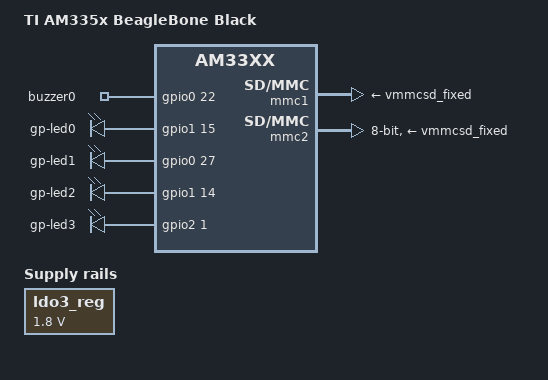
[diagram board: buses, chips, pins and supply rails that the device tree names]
/*
 * Copyright (C) 2012 Texas Instruments Incorporated - http://www.ti.com/
 *
 * This program is free software; you can redistribute it and/or modify
 * it under the terms of the GNU General Public License version 2 as
 * published by the Free Software Foundation.
 */
/dts-v1/;

#include "am33xx.dtsi"
#include "am335x-bone-common.dtsi"
/* #include "am335x-bone-jtag.dtsi" */

/ {
	model = "TI AM335x BeagleBone Black";
	compatible = "ti,am335x-bone-black", "ti,am335x-bone", "ti,am33xx";
};

&ldo3_reg {
	regulator-min-microvolt = <1800000>;
	regulator-max-microvolt = <1800000>;
	regulator-always-on;
};

&mmc1 {
	vmmc-supply = <&vmmcsd_fixed>;
};

&mmc2 {
	vmmc-supply = <&vmmcsd_fixed>;
	pinctrl-names = "default";
	pinctrl-0 = <&emmc_pins>;
	bus-width = <8>;
	status = "okay";
};

&cpu0_opp_table {
	/*
	 * All PG 2.0 silicon may not support 1GHz but some of the early
	 * BeagleBone Blacks have PG 2.0 silicon which is guaranteed
	 * to support 1GHz OPP so enable it for PG 2.0 on this board.
	 */
	oppnitro@1000000000 {
		opp-supported-hw = <0x06 0x0100>;
	};
};


/* Include serial port configuration */
#include "am335x-bone-pinmux-ttyS1.dtsi"
#include "am335x-bone-pinmux-ttyS2.dtsi"
#include "am335x-bone-pinmux-ttyS4.dtsi"
#include "am335x-bone-pinmux-ttyS5.dtsi"

/* Include lcd configuration */
#include "am335x-peripheral-lcd0.dtsi"

/* Include SPI1 configuration */
#include "am335x-bone-pinmux-spi1.dtsi"


/* Configuration of leds and buzzer */
&am33xx_pinmux {
	buzzer_pins: pinmux_buzzer_pins {
		pinctrl-single,pins = <
		BONE_P8_19 (PIN_OUTPUT | MUX_MODE7)
		>;
	};

	gpleds_pins: pinmux_gpleds_pins {
		pinctrl-single,pins = <
		BONE_P8_15 (PIN_OUTPUT | MUX_MODE7)
		BONE_P8_16 (PIN_OUTPUT | MUX_MODE7)
		BONE_P8_17 (PIN_OUTPUT | MUX_MODE7)
		BONE_P8_18 (PIN_OUTPUT | MUX_MODE7)
		>;
	};
};

/ {
	buzzer {
		pinctrl-names = "default";
		pinctrl-0 = <&buzzer_pins>;

		compatible = "gpio-leds";

		buzz@0 {
			label = "buzzer0";
			gpios = <&gpio0 22 0>;
			linux,default-trigger = "none";
			default-state = "off";
		};
	};

	gpleds {
		pinctrl-names = "default";
		pinctrl-0 = <&gpleds_pins>;

		compatible = "gpio-leds";

		gpled@0 {
			label = "gp-led0";
			gpios = <&gpio1 15 0>;
			linux,default-trigger = "none";
			default-state = "off";
		};

		gpled@1 {
			label = "gp-led1";
			gpios = <&gpio0 27 0>;
			linux,default-trigger = "none";
			default-state = "off";
		};

		gpled@2 {
			label = "gp-led2";
			gpios = <&gpio1 14 0>;
			linux,default-trigger = "none";
			default-state = "off";
		};

		gpled@3 {
			label = "gp-led3";
			gpios = <&gpio2 1 0>;
			linux,default-trigger = "none";
			default-state = "off";
		};
	};
};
